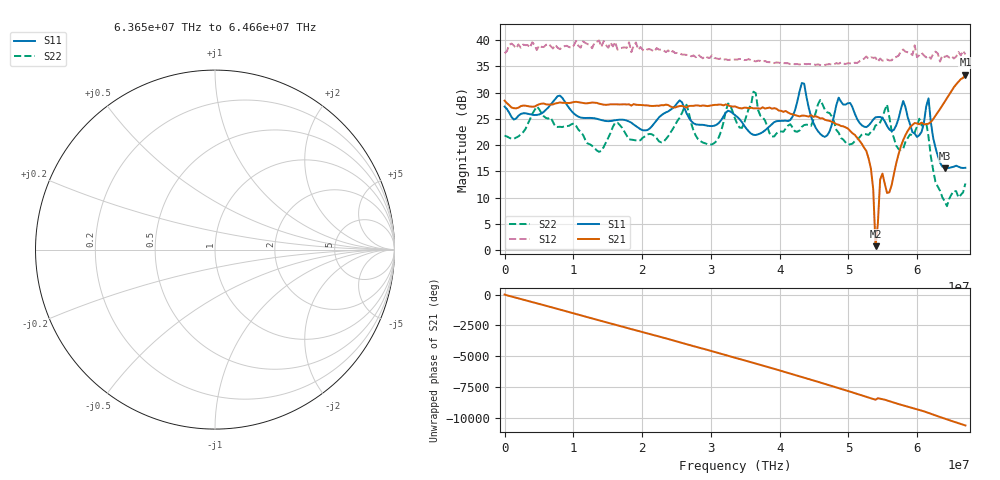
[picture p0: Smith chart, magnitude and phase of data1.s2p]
#521604!Ceyear Technologies,3672E,ZKJ00317,2.1.6
!Calibration ON : 2P/1,2
!Sweep Type: lin Frequency Sweep
!S2P File: Measurements: S11, S21, S12, S22:
!Tuesday, January 23, 2024  14 : 44
! # Hz  S  dB  R 50.000
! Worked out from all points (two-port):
!   201 points, 1e+04 THz to 6.7e+07 THz, reference 50 ohm
!   highest |S21| = 33.43 dB at 6.7e+07 THz (marker M1); lowest = 0.7 dB at 5.394e+07 THz (marker M2)
!   |S21| within 3 dB of the highest: 6.504e+07 THz to end of sweep
!   lowest |S11| = 15.6 dB at 6.399e+07 THz (marker M3)
!   |S11| at or under -10 dB: nowhere
!   |S22| runs from 8.4 to 30.2 dB; largest |S21 - S12| = 1.2e+02
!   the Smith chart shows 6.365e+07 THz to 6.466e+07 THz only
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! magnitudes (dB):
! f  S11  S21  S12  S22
! 1e+04 THz  27.3  28.5  37.5  21.8
! 4.699e+06 THz  25.8  27.6  38.1  27.4
! 1.14e+07 THz  25.2  28.0  39.8  22.0
! 2.245e+07 THz  25.3  27.5  38.2  20.7
! 2.647e+07 THz  26.0  27.1  37.2  27.7
! 2.949e+07 THz  23.7  27.4  36.7  20.2
! 3.35e+07 THz  25.7  27.4  36.3  25.1
! 3.618e+07 THz  22.0  27.0  36.0  30.2
! 3.886e+07 THz  24.0  26.9  35.7  21.6
! 4.154e+07 THz  24.8  26.0  35.4  24.0
! 4.322e+07 THz  31.8  25.6  35.4  23.5
! 4.489e+07 THz  24.3  25.4  35.4  24.8
! 5.26e+07 THz  23.4  18.9  36.9  22.0
! 5.36e+07 THz  24.9  11.5  36.6  22.7
! 5.394e+07 THz  25.3  0.7  36.7  23.8
! 5.461e+07 THz  25.3  13.4  36.5  24.3
! 5.595e+07 THz  23.0  11.0  36.1  25.3
! 5.762e+07 THz  26.8  19.8  37.9  19.0
! 6.03e+07 THz  21.9  24.0  37.1  25.0
! 6.164e+07 THz  28.9  24.1  37.0  21.5
! 6.399e+07 THz  15.6  28.2  36.8  9.3
! 6.7e+07 THz  15.7  33.4  37.3  12.7
